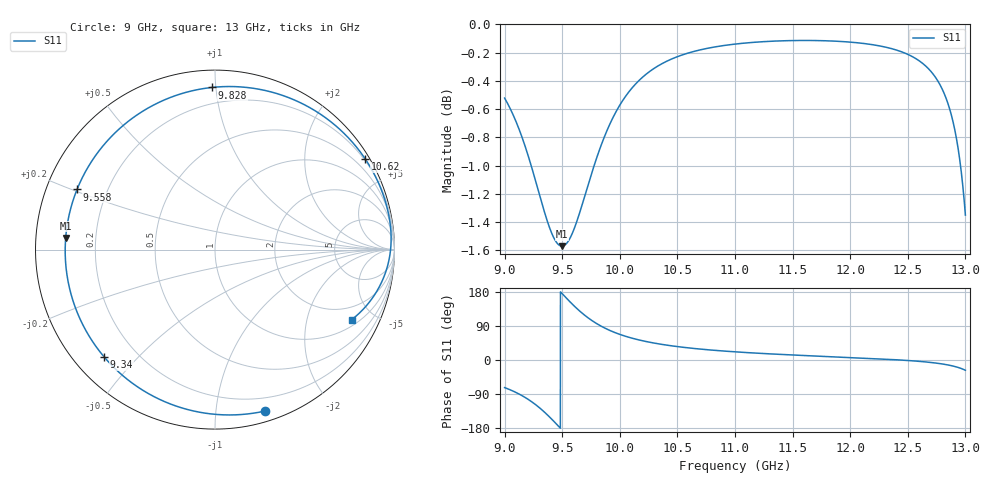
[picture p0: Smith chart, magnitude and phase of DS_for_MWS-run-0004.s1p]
! TOUCHSTONE file generated by CST DESIGN STUDIO
! Date and time: Tue Feb  4 18:13:23 2025
! Project name: C:\Work\MatlabApps\UnitCellOptimizationMatlab\CST\unitcell.cst
! Tree item: Tasks\Sweep1\SPara1\S-Parameters
! Header version: 2024
! Port assignment regex: !\s*Touchstone port\s*([0-9]+)\s*=\s*(CST MWS port|CST DES external port|CST DES block port)\s*(.+)\s* \(\"(.*)\"\)(\s*mode\s*([0-9]+))?.*
! Touchstone port assignment:
! Touchstone port 1 = CST DES external port 1 ("")
# GHz S MA R 50
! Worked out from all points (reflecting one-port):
!   4001 points, 9 GHz to 13 GHz, reference 50 ohm
!   lowest |S11| = -1.6 dB at 9.498 GHz (marker M1), VSWR 11.08, Z = 4.52 + j1.93 ohm
!   phase of S11 starts at -73 deg and turns -314 deg over the sweep
!   S11 on the Smith chart (normalised r, x): 9 GHz: 0.09, -1.35; 9.34 GHz: 0.09, -0.40; 9.558 GHz: 0.09, +0.21; 9.828 GHz: 0.10, +0.98; 10.62 GHz: 0.16, +3.60; 13 GHz: 1.28, -3.73
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9  0.9416 -72.8
9.089  0.9258 -84.2
9.195  0.9009 -102.0
9.27  0.8798 -118.0
9.34  0.8597 -135.9
9.424  0.8407 -160.8
9.498  0.8345 175.5
9.5  0.8345 174.9
9.558  0.8386 156.4
9.624  0.8509 136.8
9.687  0.8669 120.1
9.754  0.8851 104.9
9.828  0.9038 91.0
9.913  0.9218 78.1
10  0.9362 67.6
10.102  0.949 57.9
10.216  0.9592 49.5
10.347  0.9675 42.1
10.5  0.974 35.4
10.625  0.9777 31.0
11  0.984 21.6
11.5  0.9869 13.2
12  0.9856 6.6
12.5  0.9758 -1.3
12.686  0.9638 -6.0
12.829  0.9423 -11.9
12.921  0.9117 -18.2
13  0.8559 -27.1
